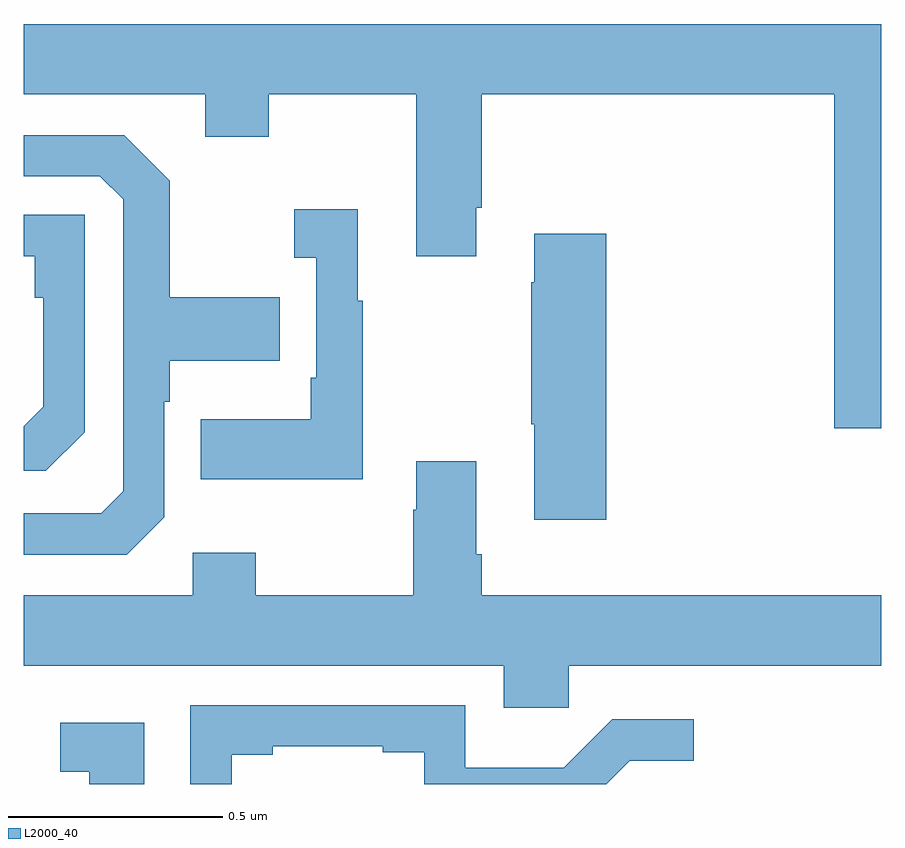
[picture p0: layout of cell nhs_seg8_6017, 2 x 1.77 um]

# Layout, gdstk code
import gdstk
lib = gdstk.Library(unit=1e-6, precision=1e-09)
def P(c, l, *ps):  # polygons
    for p in ps: c.add(gdstk.Polygon(p, *l))
L2000_40 = (2000, 40)

nhs_seg8_6017 = lib.new_cell('nhs_seg8_6017')
P(nhs_seg8_6017, L2000_40, [(193,1108.672),(191,1108.672),(191,1108.508),(191.423,1108.508),(191.423,1108.409),(191.571,1108.409),(191.571,1108.508),(191.915,1108.508),(191.915,1108.131),(192.055,1108.131),(192.055,1108.243),(192.068,1108.243),(192.068,1108.508),(192.89,1108.508),(192.89,1107.729),(193,1107.729)],
  [(191.328,1107.522),(191.328,1107.791),(191.341,1107.791),(191.341,1107.887),(191.597,1107.887),(191.597,1108.035),(191.341,1108.035),(191.341,1108.307),(191.235,1108.413),(191,1108.413),(191,1108.317),(191.178,1108.317),(191.232,1108.263),(191.232,1107.582),(191.181,1107.531),(191,1107.531),(191,1107.435),(191.241,1107.435)],
  [(191.791,1108.027),(191.779,1108.027),(191.779,1108.24),(191.631,1108.24),(191.631,1108.127),(191.682,1108.127),(191.682,1107.847),(191.67,1107.847),(191.67,1107.751),(191.413,1107.751),(191.413,1107.611),(191.791,1107.611)],
  [(191.142,1107.72),(191.142,1108.227),(191,1108.227),(191,1108.131),(191.026,1108.131),(191.026,1108.034),(191.046,1108.034),(191.046,1107.78),(191,1107.734),(191,1107.63),(191.052,1107.63)],
  [(192.359,1108.183),(192.191,1108.183),(192.191,1108.07),(192.184,1108.07),(192.184,1107.739),(192.191,1107.739),(192.191,1107.516),(192.359,1107.516)],
  [(192.119,1107.078),(192.271,1107.078),(192.271,1107.176),(193,1107.176),(193,1107.34),(192.068,1107.34),(192.068,1107.436),(192.055,1107.436),(192.055,1107.652),(191.915,1107.652),(191.915,1107.539),(191.908,1107.539),(191.908,1107.34),(191.541,1107.34),(191.541,1107.439),(191.394,1107.439),(191.394,1107.34),(191,1107.34),(191,1107.176),(192.119,1107.176)],
  [(191.485,1106.968),(191.581,1106.968),(191.581,1106.988),(191.837,1106.988),(191.837,1106.974),(191.934,1106.974),(191.934,1106.9),(192.359,1106.9),(192.413,1106.954),(192.562,1106.954),(192.562,1107.051),(192.372,1107.051),(192.259,1106.938),(192.03,1106.938),(192.03,1107.084),(191.388,1107.084),(191.388,1106.9),(191.485,1106.9)],
  [(191.281,1107.043),(191.085,1107.043),(191.085,1106.928),(191.153,1106.928),(191.153,1106.9),(191.281,1106.9)])

lib.write_gds('nhs_seg8_6017.gds')
